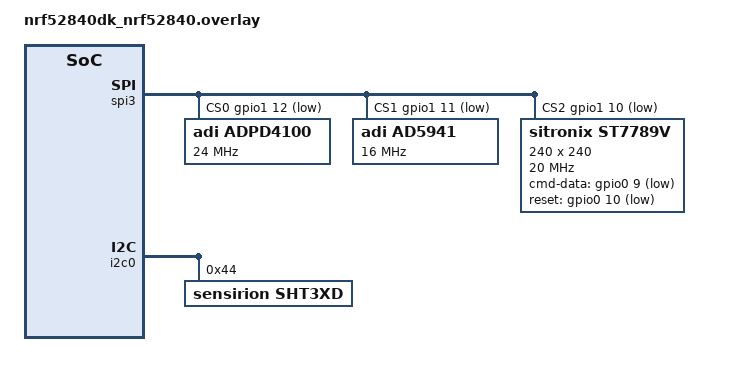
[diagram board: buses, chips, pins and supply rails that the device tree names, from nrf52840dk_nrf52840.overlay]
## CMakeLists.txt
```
cmake_minimum_required(VERSION 3.13.1)

list(APPEND DTS_ROOT ${CMAKE_SOURCE_DIR})

find_package(Zephyr REQUIRED HINTS $ENV{ZEPHYR_BASE})
project(ankoon-fc01evl)

FILE(GLOB app_sources src/*.c)
target_sources(app PRIVATE ${app_sources})
target_include_directories(app PRIVATE inc)
```

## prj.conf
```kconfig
CONFIG_NFCT_PINS_AS_GPIOS=y
CONFIG_DK_LIBRARY=y
CONFIG_CBPRINTF_FP_SUPPORT=y

CONFIG_HEAP_MEM_POOL_SIZE=16384

CONFIG_LOG=y
CONFIG_LOG_MODE_IMMEDIATE=y
CONFIG_LOG_BACKEND_RTT=n

CONFIG_SPI=y
CONFIG_I2C=y

CONFIG_DISPLAY=y
CONFIG_DISPLAY_LOG_LEVEL_ERR=y
CONFIG_ST7789V=y


CONFIG_LVGL=y
CONFIG_LVGL_USE_LABEL=y
CONFIG_LVGL_USE_CONT=y
CONFIG_LVGL_USE_BTN=y
CONFIG_LVGL_USE_THEME_MATERIAL=y
CONFIG_LVGL_COLOR_DEPTH_16=y
CONFIG_LVGL_COLOR_16_SWAP=y

CONFIG_SENSOR=y
CONFIG_SHT3XD=y

CONFIG_BT=y
CONFIG_BT_HCI=y
CONFIG_BT_PERIPHERAL=y
CONFIG_BT_DEVICE_NAME="ESP_Xinfoo_hfc"
CONFIG_BT_L2CAP_TX_MTU=252
CONFIG_BT_BUF_ACL_RX_SIZE=256
```

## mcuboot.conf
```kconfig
CONFIG_DISABLE_FLASH_PATCH=y

CONFIG_BOOT_SIGNATURE_TYPE_ECDSA_P256=y
CONFIG_BOOT_SIGNATURE_KEY_FILE="mcuboot_priv.pem"

CONFIG_BOOT_MAX_IMG_SECTORS=256
```

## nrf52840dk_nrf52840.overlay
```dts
/ {
  chosen {
    zephyr,display = &st7789v;
  };
};

&spi3 {
	cs-gpios =  <&gpio1 12 GPIO_ACTIVE_LOW>,
              <&gpio1 11 GPIO_ACTIVE_LOW>,
              <&gpio1 10 GPIO_ACTIVE_LOW>;
  adpd4100: adpd4100@0 {
    compatible = "adi,adpd4100";
    reg = <0>;
    spi-max-frequency = <24000000>;
    label = "ADPD4100";
  };
  ad5941: ad5941@1 {
    compatible = "adi,ad5941";
    reg = <1>;
    spi-max-frequency = <16000000>;
    label = "AD5941";
  };
  st7789v: st7789v@2 {
    compatible = "sitronix,st7789v";
    reg = <2>;
    spi-max-frequency = <20000000>; /* 8MHz */
    label = "ST7789V";
    cmd-data-gpios = <&gpio0 9 GPIO_ACTIVE_LOW>;	/* DET */
    reset-gpios = <&gpio0 10 GPIO_ACTIVE_LOW>;	/* RESX reset */
    width = <240>;
    height = <240>;
    x-offset = <0>;
    y-offset = <0>;
    vcom = <0x19>;
    gctrl = <0x35>;
    vrhs = <0x12>;
    vdvs = <0x20>;
    mdac = <0x00>;
    gamma = <0x01>;
    colmod = <0x05>;
    lcm = <0x2c>;
    porch-param = [0c 0c 00 33 33];
    cmd2en-param = [5a 69 02 01];
    pwctrl1-param = [a4 a1];
    pvgam-param = [D0 04 0D 11 13 2B 3F 54 4C 18 0D 0B 1F 23];
    nvgam-param = [D0 04 0C 11 13 2C 3F 44 51 2F 1F 1F 20 23];
    ram-param = [00 F0];
    rgb-param = [CD 08 14];
  };
};

&i2c0 {
	sht3xd@44 {
		compatible = "sensirion,sht3xd";
		reg = <0x44>;
		label = "SHT3XD";
	};
};

&uart1 {
  status = "disabled";
};
```

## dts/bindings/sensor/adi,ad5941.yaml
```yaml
description: AD5941 High Precision, Impedance, and Electrochemical Front End

compatible: "adi,ad5941"

include: spi-device.yaml
```

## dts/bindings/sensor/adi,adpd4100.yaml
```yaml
description: ADPD4100 Multimodal Sensor Front End

compatible: "adi,adpd4100"

include: spi-device.yaml
```

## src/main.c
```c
#include <logging/log.h>                // log可以分文件打印，用LOG_MODULE_REGISTER
LOG_MODULE_REGISTER(fc01evl_main);      // 注册log位置，分好几个层级，如info,err等，可以分层级开关。

#include <zephyr.h>
#include <sys/printk.h>


#ifdef CONFIG_MCUMGR_CMD_OS_MGMT
#include <os_mgmt/os_mgmt.h>
#endif
#ifdef CONFIG_MCUMGR_CMD_IMG_MGMT
#include <img_mgmt/img_mgmt.h>
#endif

#include <dk_buttons_and_leds.h>
#include <device.h>
#include <drivers/display.h>
#include <lvgl.h>

#include "ble_service.h"
#include "adpd4100.h"
#include "ad5941.h"
#include "sht3x.h"


#if DT_NODE_HAS_STATUS(DT_INST(0, sitronix_st7789v), okay)
#define DISPLAY_DEV_NAME DT_LABEL(DT_INST(0, sitronix_st7789v))
#endif

void sysInit()
{
    int err;

    err = dk_leds_init();
    if (err) {
        LOG_ERR("LEDs init failed (err %d)", err);
    }

    err = ADPD4100_init();
    if (err) {
        LOG_ERR("ADPD4100 init failed (err %d)", err);
    }

    err = AD5941_init();
    if (err) {
        LOG_ERR("AD5941 init failed (err %d)", err);
    }

    err = SHT3X_init();
    if (err) {
        LOG_ERR("SHT3X init failed (err %d)", err);
    }

    err = ble_init();
    if (err) {
        LOG_ERR("BLE service init failed (err %d)", err);
    }
}

void main(void)
{
 //   uint16_t adpd4100_id;
    uint32_t  ad5941_adid, ad5941_adiiid;
    uint32_t  ad5941_mingling = 0x00000002;
    double sht3x_temp = 0, sht3x_humi = 0;

    uint32_t count = 0U;
	char count_str[11] = {0};
	const struct device *display_dev;
	lv_obj_t *hello_world_label;
	lv_obj_t *count_label;

#ifdef CONFIG_MCUMGR_CMD_OS_MGMT
    os_mgmt_register_group();
#endif
#ifdef CONFIG_MCUMGR_CMD_IMG_MGMT
    img_mgmt_register_group();
#endif

    sysInit();

	display_dev = device_get_binding(DISPLAY_DEV_NAME);
	if (display_dev == NULL) {
		LOG_ERR("Device %s not found. Aborting sample.",
			DISPLAY_DEV_NAME);
        while (1);
	}
    LOG_INF("Display: %s", display_dev->name);

	if (IS_ENABLED(CONFIG_LVGL_POINTER_KSCAN)) {
		lv_obj_t *hello_world_button;

		hello_world_button = lv_btn_create(lv_scr_act(), NULL);
		lv_obj_align(hello_world_button, NULL, LV_ALIGN_CENTER, 0, 0);
		lv_btn_set_fit(hello_world_button, LV_FIT_TIGHT);
		hello_world_label = lv_label_create(hello_world_button, NULL);
	} else {
	    hello_world_label = lv_label_create(lv_scr_act(), NULL);
	}

	lv_label_set_text(hello_world_label, "Hello world!");
	lv_obj_align(hello_world_label, NULL, LV_ALIGN_CENTER, 0, 0);

	count_label = lv_label_create(lv_scr_act(), NULL);
	lv_obj_align(count_label, NULL, LV_ALIGN_IN_BOTTOM_MID, 0, 0);

	lv_task_handler();
	display_blanking_off(display_dev);

	while (1) {
		sprintf(count_str, "%d", count);
		lv_label_set_text(count_label, count_str);
		lv_task_handler();
		++count;

       // ADPD4100_readRegister(ADPD4100_REG_CHIP_ID, &adpd4100_id);
       // LOG_INF("ADPD4100 Chip ID: 0x%.4x", adpd4100_id);



        AD5941_readRegister(0x2128, &ad5941_adid, 2);
        LOG_INF("Before write:  0x%x", ad5941_adid);

        AD5941_writeRegister(0x2128, &ad5941_mingling, 2);

        AD5941_readRegister(0x2128, &ad5941_adiiid, 2);
        LOG_INF("AFTER write:  0x%x", ad5941_adiiid);

    //  SHT3X_singleShotMeasure(&sht3x_temp, &sht3x_humi);
    //  LOG_INF("SHT3X Temperature: %.2f Cel, Humidity: %.2f %%RH", sht3x_temp, sht3x_humi);



        temperatureNotify(sht3x_temp);
        humidityNotify(sht3x_humi);

        dk_set_led_on(0);
        k_sleep(K_MSEC(500));
        dk_set_led_off(0);
        k_sleep(K_MSEC(500));
	}

}
```

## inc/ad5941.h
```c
#ifndef _AD5941_H
#define _AD5941_H

#include "ad5941_reg.h"

#include <stdint.h>

// SPI Command
#define AD5941_SPICMD_SETADDR   0x20
#define AD5941_SPICMD_READREG   0x6d
#define AD5941_SPICMD_WRITEREG  0x2d
#define AD5941_SPICMD_READFIFO  0x5f


int AD5941_init(void);

int AD5941_readRegister(uint16_t addr, uint32_t *data, int numHalfword);
int AD5941_writeRegister(uint16_t addr, uint32_t *data, int numHalfword);

// 之后改进的函数如下
int AD5941_readRegisterSYT(uint16_t addr, uint32_t *data);
int AD5941_writeRegisterSYT(uint16_t addr, uint32_t data);
void AD5940_WriteReg(uint16_t RegAddr, uint32_t RegData);
uint32_t AD5940_ReadReg(uint16_t RegAddr);
#endif
```

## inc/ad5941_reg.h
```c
#ifndef _AD5941_REG_H
#define _AD5941_REG_H

// Register Name
#define AD5941_REG_ADIID    (0x00000400U)
#define AD5941_REG_CHIPID   (0x00000404U)
#define AD5941_REG_AFEON    (0x00080000U)


#endif
```

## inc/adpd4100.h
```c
#ifndef _ADPD4100_H
#define _ADPD4100_H

#include "adpd4100_reg.h"

#include <stdint.h>


/******************************************************************************/
/*************************** Types Declarations *******************************/
/******************************************************************************/



/******************************************************************************/
/************************ Functions Declarations ******************************/
/******************************************************************************/

/** Init SPI for ADPD4100 */
int ADPD4100_init(void);

/** Read device register. */
int ADPD4100_readRegister(uint16_t addr, uint16_t *data);

/** Write device register. */
int ADPD4100_writeRegister(uint16_t addr, uint16_t data);

/** Do a read and write of a register to update only part of a register. */
int ADPD4100_writeRegisterMask(uint16_t addr, uint16_t data, uint16_t mask);

#endif
```

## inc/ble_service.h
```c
#ifndef _BLE_SERVICE_H
#define _BLE_SERVICE_H

#include <bluetooth/bluetooth.h>
#include <bluetooth/conn.h>
#include <bluetooth/gatt.h>
#include <bluetooth/uuid.h>


static const struct bt_data ad[] = {
	BT_DATA_BYTES(BT_DATA_FLAGS, (BT_LE_AD_GENERAL | BT_LE_AD_NO_BREDR)),
    BT_DATA_BYTES(BT_DATA_UUID16_ALL, BT_UUID_16_ENCODE(BT_UUID_ESS_VAL)),
	BT_DATA_BYTES(BT_DATA_UUID128_ALL,
		      0x84, 0xaa, 0x60, 0x74, 0x52, 0x8a, 0x8b, 0x86,
		      0xd3, 0x4c, 0xb7, 0x1d, 0x1d, 0xdc, 0x53, 0x8d),
};

int ble_init(void);
int temperatureNotify(const double temperature);
int humidityNotify(const double humidity);

#endif
```

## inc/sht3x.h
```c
#ifndef _SHT3X_H
#define _SHT3X_H


int SHT3X_init();
int SHT3X_singleShotMeasure(double *temperature, double *humidity);

#endif
```

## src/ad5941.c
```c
#include "ad5941.h"

#include <device.h>
#include <drivers/spi.h>

#include <sys/printk.h>
#include <errno.h>

#define AD5941_NODE   DT_NODELABEL(ad5941)
#define SPI_BUS       DT_LABEL(DT_BUS(AD5941_NODE))

static const struct device *spi_dev;  //每个驱动第一步都是定义device
static const struct spi_cs_control *spi_cs = SPI_CS_CONTROL_PTR_DT(AD5941_NODE, 0);
static struct spi_config spi_config;  //这个结构体中定义了spi的一些模式设定


/** Init SPI设置 for AD5941 */
int AD5941_init(void)
{
  spi_dev = device_get_binding(SPI_BUS);
  if (spi_dev == NULL) {
    printk("Cannot find SPI device %s!\n", SPI_BUS);
    return -ENODEV;
  }
        
  spi_config.frequency = DT_PROP(AD5941_NODE, spi_max_frequency);
  spi_config.operation = SPI_WORD_SET(8);     //spi_config结构体在这里配置(CPOL这种),主要在operation
  spi_config.cs = spi_cs;

  printk("AD5941 CS Pin: GPIO %s, pin %d.\n", spi_cs->gpio_dev->name, spi_cs->gpio_pin);

  return 0;
}


    //spi一般一次传输8位数据(1字节)
//AD5941有16位寄存器(如芯片id寄存器)，也有32位寄存器，读写寄存器的时候要考虑，所以有numHalword方便操作
//page96写了SPI读寄存器的步骤,需要目标地址addr(要读写寄存器的地址)，data保存读过来的数据
int AD5941_readRegister(uint16_t addr, uint32_t *data, int numHalfword)
{
  int err;
  uint8_t txdata[4] = {0};  //数组元素是uint8_t，用于保存数据
  uint8_t rxdata[6] = {0};
  //注意一点：rxdata是6个元素。因为spi传输的时候，rx和tx是两根线,同时进行。故最开始rx会接收到2个空字节
  //所以rx数组要比tx大2，之后进行运算的时候直接从rxdata[2]开始.之前的是空数据。

  struct spi_buf txbuf = {.buf = txdata, .len = 3};
  struct spi_buf_set txbufs = {.buffers = &txbuf, .count = 1};    //结构体txbufs中保存数据在数组指针txbuf
  struct spi_buf rxbuf = {.buf = rxdata, .len = (numHalfword == 2) ? 6 : 4};
  struct spi_buf_set rxbufs = {.buffers = &rxbuf, .count = 1};
  //上面四行结构体定义是 spi进行数据传输的缓冲嵌套。txbufs最底层是数组txdata

  //把寄存器的地址放到了txdata中，手册page96说了要发送寄存器地址
  txdata[0] = AD5941_SPICMD_SETADDR;
  txdata[1] = addr >> 8;  //写高八位到[1](txdata是uint8_t)。addr右移八位之后addr本身不变！！右移后高八位放在了低八位,赋给txdata[1]
  txdata[2] = addr & 0xff;  //0xff是1111 1111,和addr相与的结果给[2],就是把addr低八位赋给txdata[2]
  //注意：addr>>8之后addr本身数值不变。但addr=addr>>8时，addr的数值才会变化

  err = spi_write(spi_dev, &spi_config, &txbufs); //spi写txbufs中数据,spi_config是spi的配置
          //txbufs结构体包含txbuf结构体，而txbuf结构体包含数组txdata

  if (err) {
    printk("AD5941_readRegister - SETADDR: SPI write failed (err %d)\n", err);
    return err;
  }

  txdata[0] = AD5941_SPICMD_READREG;  
  txbuf.len = 2 + ((numHalfword == 2) ? 4 : 2);   //这里针对16位或者32位寄存器进行不同配置
//SPI总线上发送一个虚拟字节以启动读操作，并且读取返回的数据在txbuf中
  err = spi_transceive(spi_dev, &spi_config, &txbufs, &rxbufs); //spi_transceive是先发再收
  if (err) {
    printk("AD5941_readRegister - READREG: SPI transceive failed (err %d)\n", err);
    return err;
  }
  
    //读16位或者32位的数据
  if (numHalfword == 1) {
    *data = (rxdata[2] << 8) | rxdata[3];
  } else {
    *data = (rxdata[2] << 24) | (rxdata[3] << 16) | (rxdata[4] << 8) | rxdata[5];
  }

  return 0;
}





//SPI发送的数组长度一定要严谨，不能多不能少，发送&txbufs会把对应数组规定的len都发过去(如果有些不该发,但只要在数组对应长度中，就会被发送出去)
int AD5941_writeRegister(uint16_t addr, uint32_t *data, int numHalfword)
{  
  int err;
  uint8_t txdata[5] = {0};

  struct spi_buf txbuf = {.buf = txdata, .len = 3};   //这里的长度一定要严格吻合
  struct spi_buf_set txbufs = {.buffers = &txbuf, .count = 1};
    //结构体txbufs中保存数据在数组指针txbuf

  txdata[0] = AD5941_SPICMD_SETADDR;
  txdata[1] = addr >> 8;        //往0x2128地址写，手册上规定，要写入的寄存器地址格式为16位！！
  txdata[2] = addr & 0xff;   
  err = spi_write(spi_dev, &spi_config, &txbufs);
  if (err) {
    printk("AD5941_writeRegister - SETADDR: SPI write failed (err %d)\n", err);
    return err;
  }

  txdata[0] = AD5941_SPICMD_WRITEREG;   // 0x2d
  txdata[1] = *data >> 24;       // 00 00 00 01
  txdata[2] = *data >> 16; 
  txdata[3] = *data >> 8; 
  txdata[4] = *data & 0xff;   // &在这里是与
  txbuf.len = 2 + ((numHalfword == 2) ? 4 : 2);   //注意三目运算符的优先级！！

  err = spi_write(spi_dev, &spi_config, &txbufs);
  if (err) {
    printk("AD5941_writeRegister - WRITEREG: SPI write failed (err %d)\n", err);
    return err;
  }

  return 0;
}






/****************************************************************************/
/****************************************************************************/
// 上面两个函数有小问题，最终修改后的版本如下，去掉了numHalfword，可以读写32位或者16位的数据
/****************************************************************************/
/****************************************************************************/

int AD5941_readRegisterSYT(uint16_t addr, uint32_t *data)
{
  int err;
  int numHalfword = 0;

  if(((addr >= 0x1000) && (addr <= 0x3014)))      /// syt修改spi读写寄存器
    numHalfword = 2;
  else
    numHalfword = 1;

  uint8_t txdata[4] = {0};  //数组元素是uint8_t，用于保存数据
  uint8_t rxdata[6] = {0};
  //注意一点：rxdata是6个元素。因为spi传输的时候，rx和tx是两根线,同时进行。故最开始rx会接收到2个空字节
  //所以rx数组要比tx大2，之后进行运算的时候直接从rxdata[2]开始.之前的是空数据。

  struct spi_buf txbuf = {.buf = txdata, .len = 3};
  struct spi_buf_set txbufs = {.buffers = &txbuf, .count = 1};    //结构体txbufs中保存数据在数组指针txbuf
  struct spi_buf rxbuf = {.buf = rxdata, .len = (numHalfword == 2) ? 6 : 4};
  struct spi_buf_set rxbufs = {.buffers = &rxbuf, .count = 1};
  //上面四行结构体定义是 spi进行数据传输的缓冲嵌套。txbufs最底层是数组txdata

  //把寄存器的地址放到了txdata中，手册page96说了要发送寄存器地址
  txdata[0] = AD5941_SPICMD_SETADDR;
  txdata[1] = addr >> 8;  //写高八位到[1](txdata是uint8_t)。addr右移八位之后addr本身不变！！右移后高八位放在了低八位,赋给txdata[1]
  txdata[2] = addr & 0xff;  //0xff是1111 1111,和addr相与的结果给[2],就是把addr低八位赋给txdata[2]
  //注意：addr>>8之后addr本身数值不变。但addr=addr>>8时，addr的数值才会变化

  err = spi_write(spi_dev, &spi_config, &txbufs); //spi写txbufs中数据,spi_config是spi的配置
          //txbufs结构体包含txbuf结构体，而txbuf结构体包含数组txdata

  if (err) {
    printk("AD5941_readRegister - SETADDR: SPI write failed (err %d)\n", err);
    return err;
  }

  txdata[0] = AD5941_SPICMD_READREG;  
  txbuf.len = 2 + ((numHalfword == 2) ? 4 : 2);   //这里针对16位或者32位寄存器进行不同配置, 注意三目运算符的优先级！！
//SPI总线上发送一个虚拟字节以启动读操作，并且读取返回的数据在txbuf中
  err = spi_transceive(spi_dev, &spi_config, &txbufs, &rxbufs); //spi_transceive是先发再收
  if (err) {
    printk("AD5941_readRegister - READREG: SPI transceive failed (err %d)\n", err);
    return err;
  }
  
    //读16位或者32位的数据
  if (numHalfword == 1) {
    *data = (rxdata[2] << 8) | rxdata[3];
  } else {
    *data = (rxdata[2] << 24) | (rxdata[3] << 16) | (rxdata[4] << 8) | rxdata[5];
  }

  return 0;
}


//SPI发送的数组长度一定要严谨，不能多不能少，发送&txbufs会把对应数组规定的len都发过去(如果有些不该发,但只要在数组对应长度中，就会被发送出去)
int AD5941_writeRegisterSYT(uint16_t addr, uint32_t data)
{  
  int err;
  int numHalfword = 0;
  uint8_t txdata[5] = {0};

  if(((addr >= 0x1000) && (addr <= 0x3014)))      /// syt修改spi读写寄存器
    numHalfword = 2;
  else
    numHalfword = 1;

  struct spi_buf txbuf = {.buf = txdata, .len = 3};   //这里的长度一定要严格吻合
  struct spi_buf_set txbufs = {.buffers = &txbuf, .count = 1};
    //结构体txbufs中保存数据在数组指针txbuf

  txdata[0] = AD5941_SPICMD_SETADDR;
  txdata[1] = addr >> 8;        //往0x2128地址写，手册上规定，要写入的寄存器地址格式为16位！！
  txdata[2] = addr & 0xff;   
  err = spi_write(spi_dev, &spi_config, &txbufs);
  if (err) {
    printk("AD5941_writeRegister - SETADDR: SPI write failed (err %d)\n", err);
    return err;
  }

  if(numHalfword != 1)    // 32位data
  {
    txdata[0] = AD5941_SPICMD_WRITEREG;   // 0x2d
    txdata[1] = data >> 24;       // 00 00 00 01
    txdata[2] = data >> 16; 
    txdata[3] = data >> 8; 
    txdata[4] = data & 0xff;   // &在这里是与
    txbuf.len = 5;
  }
  else      // 16位data的len
  {
    txdata[0] = AD5941_SPICMD_WRITEREG;   
    txdata[1] = data >> 8;       
    txdata[2] = data & 0xff; 
    txbuf.len = 3;
  }

  err = spi_write(spi_dev, &spi_config, &txbufs);
  if (err) {
    printk("AD5941_writeRegister - WRITEREG: SPI write failed (err %d)\n", err);
    return err;
  }

  return 0;
}

/* 把spi读写寄存器封装，内部实现函数和原理还是基于冯工的akdemo  */ 
void AD5940_WriteReg(uint16_t RegAddr, uint32_t RegData)  
{
    AD5941_writeRegisterSYT(RegAddr, RegData);
}

uint32_t AD5940_ReadReg(uint16_t RegAddr)
{   
    uint32_t data;
    AD5941_readRegisterSYT(RegAddr, &data);
    return data;
}
```

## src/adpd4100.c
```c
#include "adpd4100.h"

#include <device.h>
#include <drivers/spi.h>

#include <sys/printk.h>
#include <errno.h>


#define ADPD4100_NODE  DT_NODELABEL(adpd4100)
#define SPI_BUS        DT_LABEL(DT_BUS(ADPD4100_NODE))

static const struct device *spi_dev;
static const struct spi_cs_control *spi_cs = SPI_CS_CONTROL_PTR_DT(ADPD4100_NODE, 0);
static struct spi_config spi_config;


/** Init SPI for ADPD4100 */
int ADPD4100_init(void)
{
  spi_dev = device_get_binding(SPI_BUS);
  if (spi_dev == NULL) {
    printk("Cannot find SPI device %s!\n", SPI_BUS);
    return -ENODEV;
  }

  spi_config.frequency = DT_PROP(ADPD4100_NODE, spi_max_frequency);
  spi_config.operation = SPI_WORD_SET(8);
  spi_config.cs = spi_cs;

  printk("ADPD4100 CS Pin: GPIO %s, pin %d.\n", spi_cs->gpio_dev->name, spi_cs->gpio_pin);

  return 0;
}

/** Read device register. */  //写寄存器在ADPD4100手册page26
int ADPD4100_readRegister(uint16_t addr, uint16_t *data)
{
  int err;
  uint8_t txdata[2] = {0};
  uint8_t rxdata[2] = {0};

//具体读写操作看ADPD4100page26
  addr = addr << 1;     // 地址是15位+一个读写位
  txdata[0] = addr >> 8;  //寄存器地址的高八位给[0]
  txdata[1] = addr & 0xff;  //地址低七位+读写位

  struct spi_buf txbufs[] = {
    {.buf = txdata, .len = sizeof(txdata)}
  };      //txbufs[]是个结构体数组(是数组，由多个结构体构成)
  struct spi_buf_set txbufset = {.buffers = txbufs, .count = ARRAY_SIZE(txbufs)};
  struct spi_buf rxbufs[] = {
    {.buf = NULL, .len = sizeof(txdata)}, 
    {.buf = rxdata, .len = sizeof(rxdata)}
  };
  struct spi_buf_set rxbufset = {.buffers = rxbufs, .count = ARRAY_SIZE(rxbufs)};
  
  err = spi_transceive(spi_dev, &spi_config, &txbufset, &rxbufset);
  if (err) {
    printk("ADPD4100_readRegister: SPI transceive failed (err %d)\n", err);
    return err;
  }
  
  *data = (rxdata[0] << 8) | rxdata[1];

  return 0;
}

/** Write device register. */
int ADPD4100_writeRegister(uint16_t addr, uint16_t data)
{
  return 0;
}

/** Do a read and write of a register to update only part of a register. */
int ADPD4100_writeRegisterMask(uint16_t addr, uint16_t data, uint16_t mask)
{
  return 0;
}
```

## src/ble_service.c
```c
#include "ble_service.h"
#ifdef CONFIG_MCUMGR_SMP_BT
#include <mgmt/mcumgr/smp_bt.h>
#endif

#include <logging/log.h>
LOG_MODULE_REGISTER(fc01evl_ble);


BT_GATT_SERVICE_DEFINE(sht3x_svc,
    BT_GATT_PRIMARY_SERVICE(BT_UUID_ESS),
    BT_GATT_CHARACTERISTIC(BT_UUID_TEMPERATURE, BT_GATT_CHRC_NOTIFY,
                            BT_GATT_PERM_NONE, NULL, NULL, NULL),
    BT_GATT_CHARACTERISTIC(BT_UUID_HUMIDITY, BT_GATT_CHRC_NOTIFY,
                            BT_GATT_PERM_NONE, NULL, NULL, NULL),
);

BT_GATT_SERVICE_DEFINE(xinfoo_svc,
    BT_GATT_PRIMARY_SERVICE(BT_UUID_DECLARE_16(0x58F1)),
    BT_GATT_CHARACTERISTIC(BT_UUID_DECLARE_16(0x58F1), BT_GATT_CHRC_WRITE_WITHOUT_RESP,
                            BT_GATT_PERM_NONE, NULL, NULL, NULL),
    BT_GATT_CHARACTERISTIC(BT_UUID_DECLARE_16(0x58F2), BT_GATT_CHRC_NOTIFY,
                            BT_GATT_PERM_NONE, NULL, NULL, NULL),
);

static struct bt_conn *bt_connection;
static struct k_work advertise_work;

static void bt_ready(int err)
{
    if (err) {
        LOG_ERR("Bluetooth init failed (err %d)", err);
        return;
    }

    LOG_INF("Bluetooth initialized");

    k_work_submit(&advertise_work);
}

static void advertise(struct k_work *work)
{
    int rc;

    bt_le_adv_stop();

    rc = bt_le_adv_start(BT_LE_ADV_CONN_NAME, ad, ARRAY_SIZE(ad), NULL, 0);
    if (rc) {
        LOG_ERR("Advertising failed to start (rc %d)", rc);
        return;
    }

    LOG_INF("Advertising successfully started");
}

static void ble_connected(struct bt_conn *conn, uint8_t err)
{
    if (err) {
        LOG_ERR("Bluetooth connection failed (err 0x%02x)", err);
    }
    else {
        LOG_INF("Bluetooth connected");
        bt_connection = conn;
    }
}

static void ble_disconnected(struct bt_conn *conn, uint8_t reason)
{
    LOG_INF("Bluetooth disconnected (reason 0x%02x)", reason);
    bt_connection = NULL;
    k_work_submit(&advertise_work);
}

static struct bt_conn_cb bt_conn_callbacks = {
    .connected = ble_connected,
    .disconnected = ble_disconnected
};

int ble_init(void)
{
    int err;

    k_work_init(&advertise_work, advertise);
    err = bt_enable(bt_ready);

    if (!err) {
        bt_conn_cb_register(&bt_conn_callbacks);
    #ifdef CONFIG_MCUMGR_SMP_BT
        err = smp_bt_register();
        if (err){
            LOG_ERR("SMP BT register failed (err: %d)", err);
        }
    #endif
    }

    return err;
}

int temperatureNotify(const double temperature)
{
    int err;

    err = bt_gatt_notify(bt_connection, &sht3x_svc.attrs[2], &temperature, sizeof(double));
    if (err) {
        LOG_ERR("Temperature notify failed (err %d)", err);
    }

    return err;
}

int humidityNotify(const double humidity)
{
    int err;

    err = bt_gatt_notify(bt_connection, &sht3x_svc.attrs[3], &humidity, sizeof(double));
    if (err) {
        LOG_ERR("Humidity notify failed (err %d)", err);
    }
    
    return err;
}
```

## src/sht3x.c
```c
#include "sht3x.h"

#include <device.h>
#include <drivers/sensor.h>

#include <errno.h>

#include <logging/log.h>
LOG_MODULE_REGISTER(fc01evl_sht3x);


static const struct device *sht3x_dev;

int SHT3X_init()
{
  sht3x_dev = device_get_binding("SHT3XD");
  if (sht3x_dev == NULL) {
    LOG_ERR("Could not get SHT3XD device\n");
    return -ENODEV;
  }

  return 0;
} 

int SHT3X_singleShotMeasure(double *temperature, double *humidity)
{
  int err;

  struct sensor_value temp, humi;

  if (sht3x_dev == NULL) {
    LOG_ERR("Could not get SHT3XD device\n");
    return -ENODEV;
  }

  err = sensor_sample_fetch(sht3x_dev);
  if (err == 0) err = sensor_channel_get(sht3x_dev, SENSOR_CHAN_AMBIENT_TEMP, &temp);
  if (err == 0) err = sensor_channel_get(sht3x_dev, SENSOR_CHAN_HUMIDITY, &humi);

  if (err) {
    LOG_ERR("SHT3X_singleShotMeasure: Can't fetch sensor values (err %d)\n", err);
    return err;
  }

  *temperature = sensor_value_to_double(&temp);
  *humidity = sensor_value_to_double(&humi);

  return 0;
}
```
